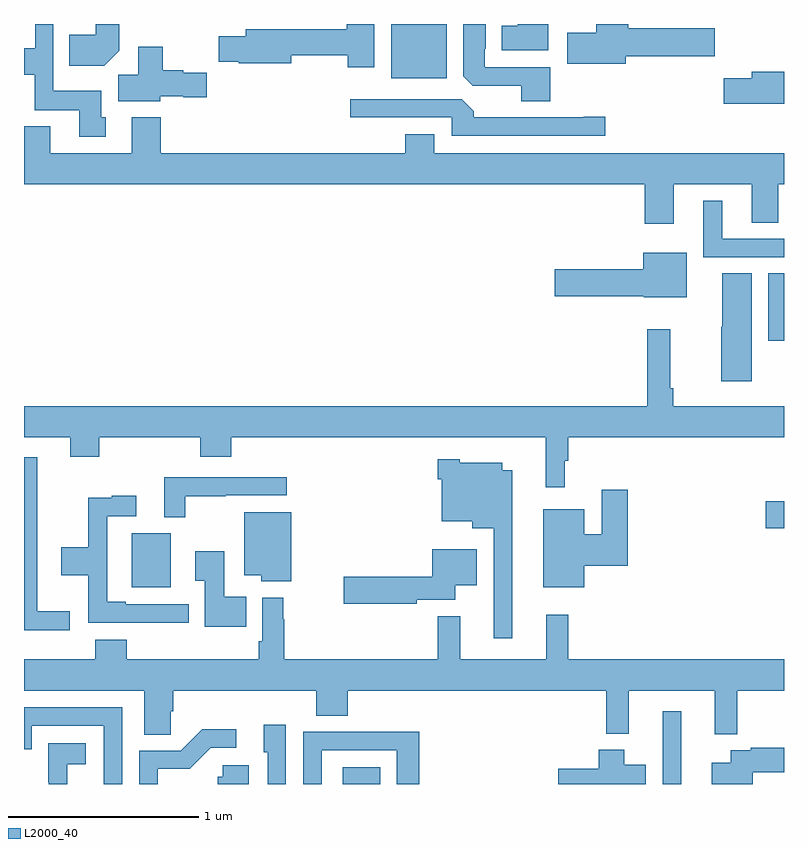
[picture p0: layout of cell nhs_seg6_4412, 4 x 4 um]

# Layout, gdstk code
import gdstk
lib = gdstk.Library(unit=1e-6, precision=1e-09)
def R(c, l, rs):  # rectangles x0, y0, x1, y1
    for r in rs: c.add(gdstk.rectangle(r[:2], r[2:], *l))
def P(c, l, *ps):  # polygons
    for p in ps: c.add(gdstk.Polygon(p, *l))
L2000_40 = (2000, 40)

nhs_seg6_4412 = lib.new_cell('nhs_seg6_4412')
R(nhs_seg6_4412, L2000_40, [(372.677,957.5,372.874,957.589), (374.361,957.5,374.458,957.883), (371.567,958.535,371.773,958.819), (374.904,958.847,375,958.989), (374.918,959.832,375,960.188), (372.932,961.214,373.225,961.5)])
P(nhs_seg6_4412, L2000_40, [(374.167,961.331),(374.635,961.331),(374.635,961.478),(374.18,961.478),(374.18,961.5),(374.012,961.5),(374.012,961.455),(373.86,961.455),(373.86,961.292),(374.167,961.292)],
  [(371.431,961.008),(371.407,961.008),(371.407,961.15),(371.154,961.15),(371.154,961.5),(371.058,961.5),(371.058,961.372),(371,961.372),(371,961.232),(371.056,961.232),(371.056,961.046),(371.291,961.046),(371.291,960.906),(371.431,960.906)],
  [(371.5,961.358),(371.5,961.5),(371.378,961.5),(371.378,961.444),(371.239,961.444),(371.239,961.28),(371.422,961.28)],
  [(372.844,961.5),(372.698,961.5),(372.698,961.472),(372.167,961.472),(372.167,961.436),(372.025,961.436),(372.025,961.302),(372.13,961.302),(372.13,961.294),(372.406,961.294),(372.406,961.336),(372.703,961.336),(372.703,961.272),(372.844,961.272)],
  [(373.769,961.272),(373.425,961.272),(373.425,961.369),(373.429,961.369),(373.429,961.5),(373.313,961.5),(373.313,961.225),(373.362,961.176),(373.616,961.176),(373.616,961.093),(373.769,961.093)],
  [(373.759,961.5),(373.598,961.5),(373.598,961.492),(373.514,961.492),(373.514,961.361),(373.759,961.361)],
  [(371.718,961.121),(371.838,961.121),(371.838,961.114),(371.963,961.114),(371.963,961.244),(371.838,961.244),(371.838,961.256),(371.73,961.256),(371.73,961.381),(371.6,961.381),(371.6,961.232),(371.495,961.232),(371.495,961.094),(371.718,961.094)],
  [(375,961.25),(374.831,961.25),(374.831,961.214),(374.682,961.214),(374.682,961.079),(375,961.079)],
  [(374.059,961.013),(373.946,961.013),(373.946,961.008),(373.367,961.008),(373.367,961.042),(373.305,961.104),(372.717,961.104),(372.717,961.008),(373.251,961.008),(373.251,960.912),(374.059,960.912)],
  [(373.159,960.919),(373.007,960.919),(373.007,960.82),(371.72,960.82),(371.72,961.009),(371.567,961.009),(371.567,960.82),(371.137,960.82),(371.137,960.961),(371,960.961),(371,960.656),(374.267,960.656),(374.267,960.45),(374.419,960.45),(374.419,960.656),(374.831,960.656),(374.831,960.454),(374.971,960.454),(374.971,960.656),(375,960.656),(375,960.82),(373.159,960.82)],
  [(375,960.369),(374.674,960.369),(374.674,960.571),(374.576,960.571),(374.576,960.273),(375,960.273)],
  [(374.488,960.295),(374.258,960.295),(374.258,960.21),(373.794,960.21),(373.794,960.068),(374.262,960.068),(374.262,960.062),(374.488,960.062)],
  [(374.83,960.188),(374.675,960.188),(374.675,959.907),(374.669,959.907),(374.669,959.619),(374.83,959.619)],
  [(373.847,959.201),(373.865,959.201),(373.865,959.324),(375,959.324),(375,959.488),(374.417,959.488),(374.417,959.584),(374.402,959.584),(374.402,959.893),(374.281,959.893),(374.281,959.488),(371,959.488),(371,959.324),(371.243,959.324),(371.243,959.222),(371.396,959.222),(371.396,959.324),(371.927,959.324),(371.927,959.222),(372.092,959.222),(372.092,959.324),(373.747,959.324),(373.747,959.061),(373.847,959.061)],
  [(371.242,958.409),(371.071,958.409),(371.071,959.221),(371,959.221),(371,958.31),(371.242,958.31)],
  [(373.57,959.152),(373.516,959.152),(373.516,959.191),(373.293,959.191),(373.293,959.209),(373.178,959.209),(373.178,959.105),(373.199,959.105),(373.199,958.883),(373.358,958.883),(373.358,958.847),(373.473,958.847),(373.473,958.266),(373.57,958.266)],
  [(371.848,959.014),(372.062,959.014),(372.062,959.019),(372.382,959.019),(372.382,959.115),(371.738,959.115),(371.738,958.904),(371.848,958.904)],
  [(373.948,958.649),(374.177,958.649),(374.177,959.05),(374.042,959.05),(374.042,958.814),(373.948,958.814),(373.948,958.945),(373.733,958.945),(373.733,958.535),(373.948,958.535)],
  [(371.866,958.446),(371.536,958.446),(371.536,958.459),(371.439,958.459),(371.439,958.908),(371.59,958.908),(371.59,959.017),(371.462,959.017),(371.462,959.006),(371.338,959.006),(371.338,958.746),(371.196,958.746),(371.196,958.598),(371.338,958.598),(371.338,958.35),(371.623,958.35),(371.623,958.349),(371.866,958.349)],
  [(372.406,958.93),(372.158,958.93),(372.158,958.598),(372.248,958.598),(372.248,958.568),(372.406,958.568)],
  [(373.068,958.469),(373.27,958.469),(373.27,958.547),(373.384,958.547),(373.384,958.735),(373.148,958.735),(373.148,958.592),(372.684,958.592),(372.684,958.45),(373.068,958.45)],
  [(372.17,958.486),(372.055,958.486),(372.055,958.726),(371.901,958.726),(371.901,958.57),(371.951,958.57),(371.951,958.328),(372.17,958.328)],
  [(371.772,957.883),(371.786,957.883),(371.786,957.992),(372.539,957.992),(372.539,957.859),(372.704,957.859),(372.704,957.992),(374.065,957.992),(374.065,957.764),(374.183,957.764),(374.183,957.992),(374.636,957.992),(374.636,957.763),(374.753,957.763),(374.753,957.992),(375,957.992),(375,958.156),(373.865,958.156),(373.865,958.39),(373.748,958.39),(373.748,958.156),(373.295,958.156),(373.295,958.384),(373.177,958.384),(373.177,958.156),(372.371,958.156),(372.371,958.367),(372.364,958.367),(372.364,958.48),(372.255,958.48),(372.255,958.252),(372.235,958.252),(372.235,958.156),(371.54,958.156),(371.54,958.258),(371.375,958.258),(371.375,958.156),(371,958.156),(371,957.992),(371.633,957.992),(371.633,957.76),(371.772,957.76)],
  [(371.517,957.903),(371,957.903),(371,957.684),(371.04,957.684),(371.04,957.807),(371.421,957.807),(371.421,957.5),(371.517,957.5)],
  [(372.378,957.811),(372.263,957.811),(372.263,957.666),(372.282,957.666),(372.282,957.5),(372.378,957.5)],
  [(371.703,957.579),(371.872,957.579),(371.983,957.69),(372.118,957.69),(372.118,957.788),(371.939,957.788),(371.826,957.675),(371.607,957.675),(371.607,957.5),(371.703,957.5)],
  [(372.567,957.678),(372.963,957.678),(372.963,957.5),(373.079,957.5),(373.079,957.776),(372.787,957.776),(372.787,957.774),(372.471,957.774),(372.471,957.5),(372.567,957.5)],
  [(371.228,957.605),(371.326,957.605),(371.326,957.715),(371.128,957.715),(371.128,957.509),(371.129,957.509),(371.129,957.5),(371.228,957.5)],
  [(374.836,957.562),(375,957.562),(375,957.691),(374.824,957.691),(374.824,957.678),(374.72,957.678),(374.72,957.613),(374.621,957.613),(374.621,957.5),(374.836,957.5)],
  [(374.272,957.601),(374.158,957.601),(374.158,957.679),(374.024,957.679),(374.024,957.579),(373.812,957.579),(373.812,957.5),(374.272,957.5)],
  [(372.184,957.598),(372.045,957.598),(372.045,957.537),(372.019,957.537),(372.019,957.5),(372.184,957.5)])

lib.write_gds('nhs_seg6_4412.gds')
